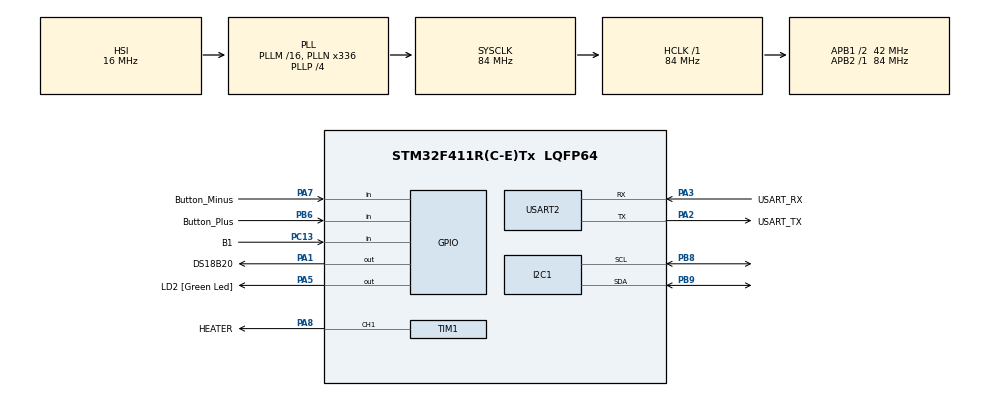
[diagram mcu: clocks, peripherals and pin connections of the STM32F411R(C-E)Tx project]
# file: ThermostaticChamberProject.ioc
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I2C1.I2C_Mode=I2C_Fast
Mcu.Family=STM32F4
Mcu.Name=STM32F411R(C-E)Tx
Mcu.Package=LQFP64
NVIC.PriorityGroup=NVIC_PRIORITYGROUP_0
NVIC.TIM2_IRQn=true\:0\:0\:false\:true\:true\:1\:true\:true
PA1.GPIO_Label=DS18B20
PA1.Signal=GPIO_Output
PA13.GPIO_Label=TMS
PA13.Mode=Serial_Wire
PA13.Signal=SYS_JTMS-SWDIO
PA14.GPIO_Label=TCK
PA14.Mode=Serial_Wire
PA14.Signal=SYS_JTCK-SWCLK
PA2.GPIO_Label=USART_TX
PA2.Mode=Asynchronous
PA2.Signal=USART2_TX
PA3.GPIO_Label=USART_RX
PA3.Mode=Asynchronous
PA3.Signal=USART2_RX
PA5.GPIO_Label=LD2 [Green Led]
PA5.GPIO_PuPd=GPIO_NOPULL
PA5.Signal=GPIO_Output
PA7.GPIO_Label=Button_Minus
PA7.Signal=GPIO_Input
PA8.GPIO_Label=HEATER
PA8.Signal=S_TIM1_CH1
PB3.GPIO_Label=SWO
PB3.Signal=SYS_JTDO-SWO
PB6.GPIO_Label=Button_Plus
PB6.Signal=GPIO_Input
PB8.GPIO_Speed=GPIO_SPEED_FREQ_HIGH
PB8.Mode=I2C
PB8.Signal=I2C1_SCL
PB9.GPIO_Speed=GPIO_SPEED_FREQ_HIGH
PB9.Mode=I2C
PB9.Signal=I2C1_SDA
PC13-ANTI_TAMP.GPIO_Label=B1
PC13-ANTI_TAMP.Signal=GPIO_Input
PC14-OSC32_IN.Mode=LSE-External-Oscillator
PC14-OSC32_IN.Signal=RCC_OSC32_IN
PC15-OSC32_OUT.Mode=LSE-External-Oscillator
PC15-OSC32_OUT.Signal=RCC_OSC32_OUT
PH0\ -\ OSC_IN.Mode=HSE-External-Oscillator
PH0\ -\ OSC_IN.Signal=RCC_OSC_IN
PH1\ -\ OSC_OUT.Mode=HSE-External-Oscillator
PH1\ -\ OSC_OUT.Signal=RCC_OSC_OUT
ProjectManager.HeapSize=0x200
ProjectManager.StackSize=0x400
ProjectManager.TargetToolchain=STM32CubeIDE
RCC.48MHZClocksFreq_Value=84000000
RCC.AHBFreq_Value=84000000
RCC.APB1CLKDivider=RCC_HCLK_DIV2
RCC.APB1Freq_Value=42000000
RCC.APB1TimFreq_Value=84000000
RCC.APB2Freq_Value=84000000
RCC.APB2TimFreq_Value=84000000
RCC.CortexFreq_Value=84000000
RCC.FLatency-AdvancedSettings=FLASH_LATENCY_2
RCC.HCLKFreq_Value=84000000
RCC.HSE_VALUE=8000000
RCC.HSI_VALUE=16000000
RCC.PLLN=336
RCC.PLLP=RCC_PLLP_DIV4
RCC.SYSCLKFreq_VALUE=84000000
RCC.SYSCLKSource=RCC_SYSCLKSOURCE_PLLCLK
RCC.VCOOutputFreq_Value=336000000
SH.S_TIM1_CH1.0=TIM1_CH1,PWM Generation1 CH1
TIM1.AutoReloadPreload=TIM_AUTORELOAD_PRELOAD_ENABLE
TIM1.Channel-PWM\ Generation1\ CH1=TIM_CHANNEL_1
TIM1.Period=9999
TIM1.Prescaler=8399
TIM1.Pulse-PWM\ Generation1\ CH1=0
TIM10.Prescaler=83
TIM2.AutoReloadPreload=TIM_AUTORELOAD_PRELOAD_ENABLE
TIM2.Period=9999
TIM2.Prescaler=8399
USART2.VirtualMode=VM_ASYNC
VP_TIM10_VS_ClockSourceINT.Mode=Enable_Timer
VP_TIM1_VS_ClockSourceINT.Mode=Internal
VP_TIM2_VS_ClockSourceINT.Mode=Internal
board=NUCLEO-F411RE

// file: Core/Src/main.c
/* USER CODE BEGIN Header */
/**
  ******************************************************************************
  * @file           : main.c
  * @brief          : Main program body
  ******************************************************************************
  * @attention
  *
  * <h2><center>&copy; Copyright (c) 2022 STMicroelectronics.
  * All rights reserved.</center></h2>
  *
  * This software component is licensed by ST under BSD 3-Clause license,
  * the "License"; You may not use this file except in compliance with the
  * License. You may obtain a copy of the License at:
  *                        opensource.org/licenses/BSD-3-Clause
  *
  ******************************************************************************
  */
/* USER CODE END Header */
#include "main.h"
#include "i2c.h"
#include "tim.h"
#include "usart.h"
#include "gpio.h"

/* USER CODE BEGIN Includes */
#include "lcd_i2c.h"
#include <stdbool.h>
#include <stdio.h>
#include "user_interface.h"
#include "ds18b20.h"
#include "PID_control.h"

//#include "ds18b20.h"
/* USER CODE END Includes */

/* USER CODE BEGIN PV */
int target=0;
float temperature;
float temp2;
uint32_t TimerHeater;
char message[20];
pid_d pid1 = {.p.Kp=1, .p.Ki=0.02, .p.Kd=0, .p.dt=1, .previous_error=0, .previous_integral=0};
float control_signal;
uint16_t PWM=0;

/* USER CODE END PV */

void SystemClock_Config(void);
static void MX_NVIC_Init(void);
/* USER CODE BEGIN PFP */
float TemperatureDS18B20(void);
/* USER CODE END PFP */

int main(void)
{

  /* MCU Configuration--------------------------------------------------------*/

  /* Reset of all peripherals, Initializes the Flash interface and the Systick. */
  HAL_Init();

  /* Configure the system clock */
  SystemClock_Config();

  /* Initialize all configured peripherals */
  MX_GPIO_Init();
  MX_USART2_UART_Init();
  MX_I2C1_Init();
  MX_TIM10_Init();
  MX_TIM1_Init();
  MX_TIM2_Init();

  /* Initialize interrupts */
  MX_NVIC_Init();
  /* USER CODE BEGIN 2 */

HAL_TIM_PWM_Start(&htim1, TIM_CHANNEL_1);
//initializing user interface
UserInterfaceInit();
//choosing setpoint temperature
target=ButtonsUsage();
HAL_Delay(100);

DS18B20_Init(DS18B20_Resolution_12bits);

temp2=TemperatureDS18B20();
TimerHeater=HAL_GetTick();
HAL_TIM_Base_Start_IT(&htim2);
HAL_Delay(100);

  /* USER CODE END 2 */

  /* Infinite loop */
  /* USER CODE BEGIN WHILE */
  while (1)
  {

	  	 temp2=TemperatureDS18B20();

	  	 sprintf(message, "%.2f,%d\n\r",temp2,HAL_GetTick()-TimerHeater);
	  	 HAL_UART_Transmit(&huart2, (uint8_t*)message, sizeof(message), 100);
	  	 DisplayResults(target,temp2);

	  	 HAL_Delay(100);
    /* USER CODE END WHILE */

  }
}

void SystemClock_Config(void)
{
  RCC_OscInitTypeDef RCC_OscInitStruct = {0};
  RCC_ClkInitTypeDef RCC_ClkInitStruct = {0};

  /** Configure the main internal regulator output voltage
  */
  __HAL_RCC_PWR_CLK_ENABLE();
  __HAL_PWR_VOLTAGESCALING_CONFIG(PWR_REGULATOR_VOLTAGE_SCALE1);
  /** Initializes the RCC Oscillators according to the specified parameters
  * in the RCC_OscInitTypeDef structure.
  */
  RCC_OscInitStruct.OscillatorType = RCC_OSCILLATORTYPE_HSI;
  RCC_OscInitStruct.HSIState = RCC_HSI_ON;
  RCC_OscInitStruct.HSICalibrationValue = RCC_HSICALIBRATION_DEFAULT;
  RCC_OscInitStruct.PLL.PLLState = RCC_PLL_ON;
  RCC_OscInitStruct.PLL.PLLSource = RCC_PLLSOURCE_HSI;
  RCC_OscInitStruct.PLL.PLLM = 16;
  RCC_OscInitStruct.PLL.PLLN = 336;
  RCC_OscInitStruct.PLL.PLLP = RCC_PLLP_DIV4;
  RCC_OscInitStruct.PLL.PLLQ = 4;
  if (HAL_RCC_OscConfig(&RCC_OscInitStruct) != HAL_OK)
  {
    Error_Handler();
  }
  /** Initializes the CPU, AHB and APB buses clocks
  */
  RCC_ClkInitStruct.ClockType = RCC_CLOCKTYPE_HCLK|RCC_CLOCKTYPE_SYSCLK
                              |RCC_CLOCKTYPE_PCLK1|RCC_CLOCKTYPE_PCLK2;
  RCC_ClkInitStruct.SYSCLKSource = RCC_SYSCLKSOURCE_PLLCLK;
  RCC_ClkInitStruct.AHBCLKDivider = RCC_SYSCLK_DIV1;
  RCC_ClkInitStruct.APB1CLKDivider = RCC_HCLK_DIV2;
  RCC_ClkInitStruct.APB2CLKDivider = RCC_HCLK_DIV1;

  if (HAL_RCC_ClockConfig(&RCC_ClkInitStruct, FLASH_LATENCY_2) != HAL_OK)
  {
    Error_Handler();
  }
}

/**
  * @brief NVIC Configuration.
  * @retval None
  */
static void MX_NVIC_Init(void)
{
  /* TIM2_IRQn interrupt configuration */
  HAL_NVIC_SetPriority(TIM2_IRQn, 0, 0);
  HAL_NVIC_EnableIRQ(TIM2_IRQn);
}

/* USER CODE BEGIN 4 */

void HAL_TIM_PeriodElapsedCallback(TIM_HandleTypeDef *htim){

		if(htim->Instance == TIM2){
			//timer 2 interrupt
			if(temp2!=0){

			//calculating control signal
			control_signal=calculate_discrete_pid(&pid1,target,temp2);
			//calculating width
			PWM=CalculateWidth(control_signal);
			PWM=(uint16_t)PWM;
			//setting PWM width
			  __HAL_TIM_SET_COMPARE(&htim1,TIM_CHANNEL_1,PWM);
			}

		}

}
//function which do measurements
float TemperatureDS18B20() {
	float temp;
	DS18B20_ReadAll();
	DS18B20_StartAll();
	DS18B20_GetTemperature(0, &temp);
	return temp;

}
/* USER CODE END 4 */

void Error_Handler(void)
{
  __disable_irq();
  while (1)
  {
  }
}

/************************ (C) COPYRIGHT STMicroelectronics *****END OF FILE****/
